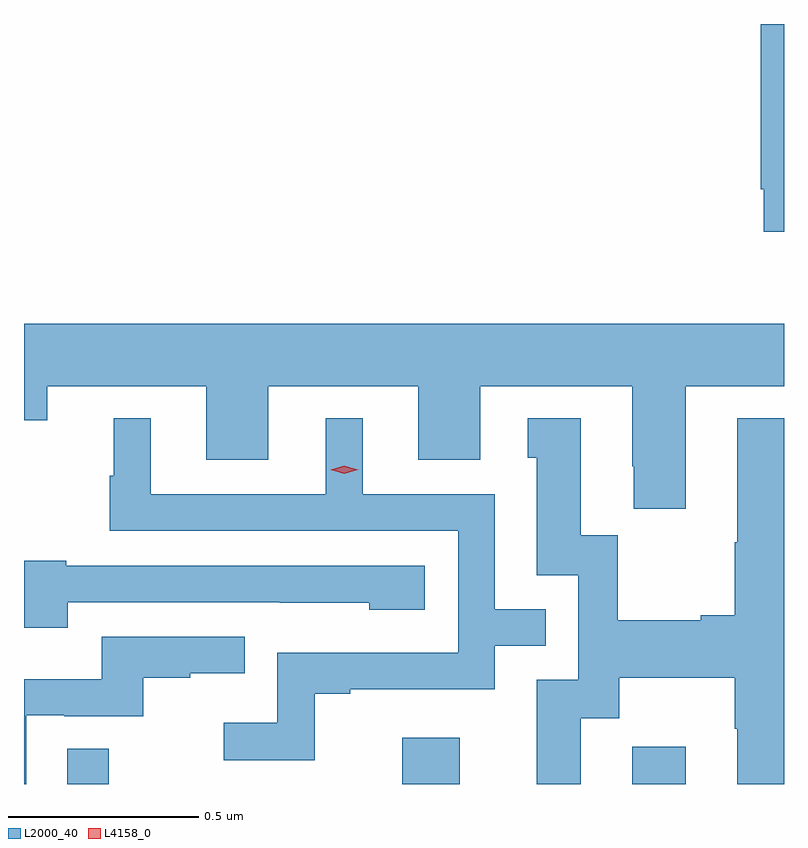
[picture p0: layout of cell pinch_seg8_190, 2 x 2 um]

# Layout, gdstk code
import gdstk
lib = gdstk.Library(unit=1e-6, precision=1e-09)
def R(c, l, rs):  # rectangles x0, y0, x1, y1
    for r in rs: c.add(gdstk.rectangle(r[:2], r[2:], *l))
def P(c, l, *ps):  # polygons
    for p in ps: c.add(gdstk.Polygon(p, *l))
L2000_40 = (2000, 40)
L4158_0 = (4158, 0)

pinch_seg8_190 = lib.new_cell('pinch_seg8_190')
R(pinch_seg8_190, L2000_40, [(677.442,1160.741,677.551,1160.834), (678.323,1160.741,678.475,1160.863), (678.929,1160.741,679.069,1160.839)])
P(pinch_seg8_190, L2000_40, [(679.328,1162.741),(679.267,1162.741),(679.267,1162.306),(679.275,1162.306),(679.275,1162.194),(679.328,1162.194)],
  [(679.069,1161.788),(679.328,1161.788),(679.328,1161.952),(677.328,1161.952),(677.328,1161.698),(677.389,1161.698),(677.389,1161.788),(677.807,1161.788),(677.807,1161.594),(677.971,1161.594),(677.971,1161.788),(678.365,1161.788),(678.365,1161.594),(678.529,1161.594),(678.529,1161.788),(678.929,1161.788),(678.929,1161.577),(678.932,1161.577),(678.932,1161.465),(679.069,1161.465)],
  [(678.093,1160.979),(678.187,1160.979),(678.187,1160.991),(678.567,1160.991),(678.567,1161.105),(678.701,1161.105),(678.701,1161.201),(678.567,1161.201),(678.567,1161.504),(678.22,1161.504),(678.22,1161.703),(678.122,1161.703),(678.122,1161.504),(677.662,1161.504),(677.662,1161.703),(677.564,1161.703),(677.564,1161.552),(677.553,1161.552),(677.553,1161.408),(678.471,1161.408),(678.471,1161.087),(677.994,1161.087),(677.994,1160.902),(677.853,1160.902),(677.853,1160.804),(678.093,1160.804)],
  [(678.793,1160.914),(678.895,1160.914),(678.895,1161.02),(679.198,1161.02),(679.198,1160.886),(679.205,1160.886),(679.205,1160.741),(679.328,1160.741),(679.328,1161.703),(679.205,1161.703),(679.205,1161.377),(679.198,1161.377),(679.198,1161.185),(679.109,1161.185),(679.109,1161.172),(678.891,1161.172),(678.891,1161.395),(678.793,1161.395),(678.793,1161.703),(678.653,1161.703),(678.653,1161.6),(678.677,1161.6),(678.677,1161.291),(678.786,1161.291),(678.786,1161.015),(678.677,1161.015),(678.677,1160.741),(678.793,1160.741)],
  [(677.443,1161.219),(678.001,1161.219),(678.001,1161.218),(678.237,1161.218),(678.237,1161.2),(678.382,1161.2),(678.382,1161.315),(677.439,1161.315),(677.439,1161.328),(677.328,1161.328),(677.328,1161.152),(677.443,1161.152)],
  [(677.334,1160.922),(677.434,1160.922),(677.434,1160.919),(677.642,1160.919),(677.642,1161.021),(677.765,1161.021),(677.765,1161.032),(677.909,1161.032),(677.909,1161.129),(677.532,1161.129),(677.532,1161.017),(677.328,1161.017),(677.328,1160.741),(677.334,1160.741)])
P(pinch_seg8_190, L4158_0, [(678.171,1161.558),(678.135,1161.568),(678.135,1161.568),(678.135,1161.568),(678.171,1161.578),(678.206,1161.568),(678.207,1161.568),(678.206,1161.568)])

lib.write_gds('pinch_seg8_190.gds')
